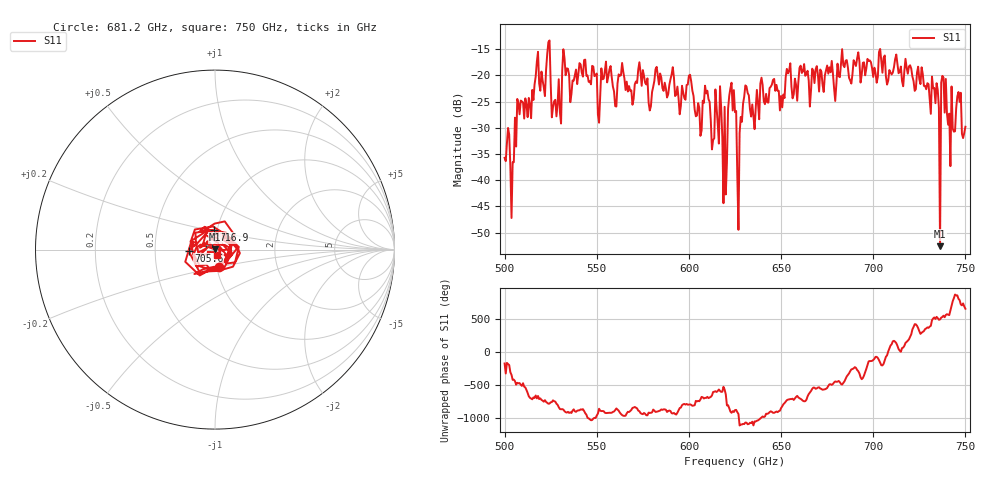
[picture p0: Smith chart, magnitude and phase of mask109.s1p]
!Created with skrf (http://scikit-rf.org).
# GHz S MA R 50.0
!freq magS11 angS11
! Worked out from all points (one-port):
!   401 points, 500 GHz to 750 GHz, reference 50 ohm
!   lowest |S11| = -52.6 dB at 736.2 GHz (marker M1), VSWR 1.00, Z = 49.8 + j0.169 ohm
!   |S11| at or under -10 dB: start of sweep to end of sweep
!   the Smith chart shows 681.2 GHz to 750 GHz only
!   S11 on the Smith chart (normalised r, x): 681.2 GHz: 1.03, -0.20; 705.6 GHz: 0.74, -0.01; 716.9 GHz: 0.96, +0.21; 750 GHz: 1.03, -0.06
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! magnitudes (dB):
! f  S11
! 500 GHz  -35.7
! 503.8 GHz  -47.2
! 508.1 GHz  -27.4
! 517.5 GHz  -17.4
! 523.8 GHz  -13.6
! 526.9 GHz  -24.9
! 531.2 GHz  -19.0
! 562.5 GHz  -20.1
! 593.8 GHz  -22.1
! 610 GHz  -22.9
! 612.5 GHz  -34.1
! 616.2 GHz  -33.0
! 619.4 GHz  -26.0
! 622.5 GHz  -22.5
! 625 GHz  -27.0
! 627.5 GHz  -31.0
! 631.2 GHz  -22.1
! 634.4 GHz  -25.5
! 656.2 GHz  -24.4
! 681.2 GHz  -20.1
! 687.5 GHz  -21.0
! 705.6 GHz  -16.6
! 716.9 GHz  -19.2
! 718.8 GHz  -19.7
! 736.2 GHz  -52.6
! 738.1 GHz  -20.4
! 740.6 GHz  -29.4
! 750 GHz  -29.8
